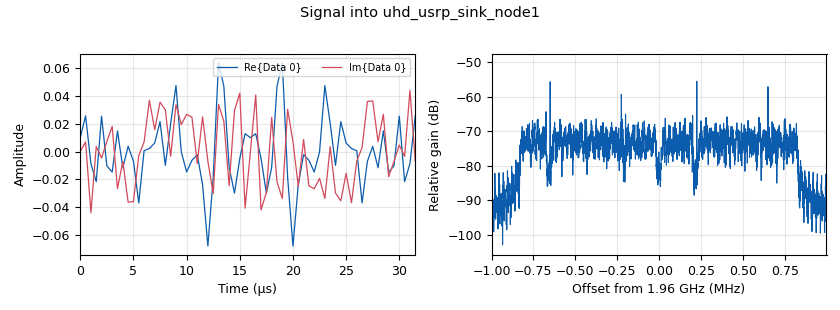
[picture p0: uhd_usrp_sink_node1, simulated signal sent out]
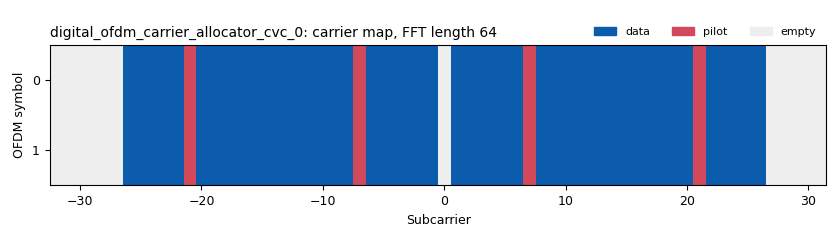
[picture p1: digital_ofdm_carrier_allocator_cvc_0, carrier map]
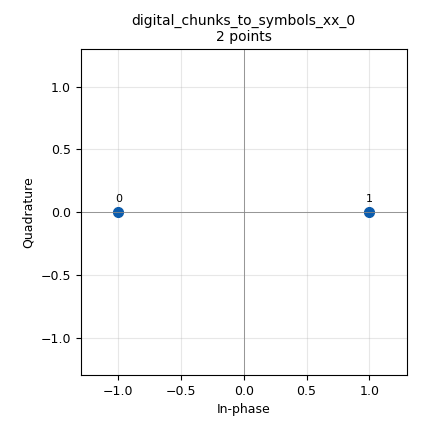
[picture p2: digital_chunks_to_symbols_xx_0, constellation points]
options:
  parameters:
    generate_options: qt_gui
    id: txrx_constellation
    output_language: python
    title: txrx_constellation
  states: {}

blocks:
- name: center_freq
  id: variable
  parameters:
    value: 2e9 - 2*2e7
  states: {}
- name: fft_len
  id: variable
  parameters:
    value: '64'
  states: {}
- name: header_equalizer
  id: variable
  parameters:
    value: digital.ofdm_equalizer_simpledfe(fft_len, header_mod.base(), occupied_carriers, pilot_carriers, pilot_symbols)
  states: {}
- name: header_formatter
  id: variable
  parameters:
    value: digital.packet_header_ofdm(occupied_carriers, n_syms=1, len_tag_key=length_tag_key, frame_len_tag_key=length_tag_key_rx, bits_per_header_sym=header_mod.bits_per_symbol(), bits_per_payload_sym=payload_mod.bits_per_symbol(), scramble_header=False)
  states: {}
- name: header_mod
  id: variable
  parameters:
    value: digital.constellation_bpsk()
  states: {}
- name: length_tag_key
  id: variable
  parameters:
    value: '"packet_len"'
  states: {}
- name: length_tag_key_rx
  id: variable
  parameters:
    value: '"frame_len"'
  states: {}
- name: occupied_carriers
  id: variable
  parameters:
    value: (list(range(-26, -21)) + list(range(-20, -7)) + list(range(-6, 0)) + list(range(1, 7)) + list(range(8, 21)) + list(range(22, 27)),)
  states: {}
- name: packet_len
  id: variable
  parameters:
    value: '64'
  states: {}
- name: payload_equalizer
  id: variable
  parameters:
    value: digital.ofdm_equalizer_simpledfe(fft_len, payload_mod.base(), occupied_carriers, pilot_carriers, pilot_symbols, 1)
  states: {}
- name: payload_mod
  id: variable
  parameters:
    value: digital.constellation_bpsk()
  states: {}
- name: pilot_carriers
  id: variable
  parameters:
    value: ((-21, -7, 7, 21,),)
  states: {}
- name: pilot_symbols
  id: variable
  parameters:
    value: ((1, 1, 1, -1,),)
  states: {}
- name: rolloff
  id: variable
  parameters:
    value: '0'
  states: {}
- name: rx_gain
  id: variable
  parameters:
    value: '0.8'
  states: {}
- name: samp_rate
  id: variable
  parameters:
    value: 2e6
  states: {}
- name: sdr0
  id: variable
  parameters:
    value: '"serial= 316405A"'
  states: {}
- name: sdr1
  id: variable
  parameters:
    value: '"serial= 316407B"'
  states: {}
- name: sync_word1
  id: variable
  parameters:
    value: '[0., 0., 0., 0., 0., 0., 0., 1.41421356, 0., -1.41421356, 0., 1.41421356, 0., -1.41421356, 0., -1.41421356, 0., -1.41421356, 0., 1.41421356, 0., -1.41421356, 0., 1.41421356, 0., -1.41421356, 0., -1.41421356, 0., -1.41421356, 0., -1.41421356, 0., 1.41421356, 0., -1.41421356, 0., 1.41421356, 0., 1.41421356, 0., 1.41421356, 0., -1.41421356, 0., 1.41421356, 0., 1.41421356, 0., 1.41421356, 0., -1.41421356, 0., 1.41421356, 0., 1.41421356, 0., 1.41421356, 0., 0., 0., 0., 0., 0.]'
  states: {}
- name: sync_word2
  id: variable
  parameters:
    value: '[0, 0, 0, 0, 0, 0, -1, -1, -1, -1, 1, 1, -1, -1, -1, 1, -1, 1, 1, 1, 1, 1, -1, -1, -1, -1, -1, 1, -1, -1, 1, -1, 0, 1, -1, 1, 1, 1, -1, 1, 1, 1, -1, 1, 1, 1, 1, -1, 1, -1, -1, -1, 1, -1, 1, -1, -1, -1, -1, 0, 0, 0, 0, 0] '
  states: {}
- name: tx_gain
  id: variable
  parameters:
    value: '70'
  states: {}
- name: analog_frequency_modulator_fc_0
  id: analog_frequency_modulator_fc
  parameters:
    sensitivity: '-2.0/fft_len'
  states: {}
- name: analog_random_source_x_0
  id: analog_random_source_x
  parameters:
    max: '255'
    min: '0'
    num_samps: '1000'
    repeat: 'True'
    type: byte
  states: {}
- name: blocks_delay_0
  id: blocks_delay
  parameters:
    delay: fft_len+fft_len//4
    type: complex
  states: {}
- name: blocks_multiply_const_vxx_0
  id: blocks_multiply_const_vxx
  parameters:
    const: '0.005'
    type: complex
  states: {}
- name: blocks_multiply_xx_0
  id: blocks_multiply_xx
  parameters:
    type: complex
  states: {}
- name: blocks_null_sink_0
  id: blocks_null_sink
  parameters:
    type: complex
  states: {}
- name: blocks_repack_bits_bb_0
  id: blocks_repack_bits_bb
  parameters:
    endianness: gr.GR_LSB_FIRST
    k: '8'
    l: payload_mod.bits_per_symbol()
    len_tag_key: length_tag_key
  states: {}
- name: blocks_stream_to_tagged_stream_0
  id: blocks_stream_to_tagged_stream
  parameters:
    len_tag_key: length_tag_key
    packet_len: packet_len
    type: byte
  states: {}
- name: blocks_tag_debug_0
  id: blocks_tag_debug
  parameters:
    type: complex
    vlen: '64'
  states: {state: disabled}
- name: blocks_tag_gate_0
  id: blocks_tag_gate
  parameters:
    propagate_tags: 'False'
    type: complex
  states: {}
- name: blocks_tagged_stream_mux_0
  id: blocks_tagged_stream_mux
  parameters:
    lengthtagname: length_tag_key
    ninputs: '2'
    type: complex
  states: {}
- name: digital_chunks_to_symbols_xx_0
  id: digital_chunks_to_symbols_xx
  parameters:
    dimension: '1'
    in_type: byte
    out_type: complex
    symbol_table: header_mod.points()
  states: {}
- name: digital_chunks_to_symbols_xx_0_0
  id: digital_chunks_to_symbols_xx
  parameters:
    dimension: '1'
    in_type: byte
    out_type: complex
    symbol_table: payload_mod.points()
  states: {}
- name: digital_constellation_decoder_cb_0
  id: digital_constellation_decoder_cb
  parameters:
    constellation: header_mod.base()
  states: {}
- name: digital_crc32_bb_0
  id: digital_crc32_bb
  parameters:
    check: 'False'
    lengthtagname: length_tag_key
    packed: 'True'
  states: {}
- name: digital_header_payload_demux_0
  id: digital_header_payload_demux
  parameters:
    guard_interval: fft_len//4
    header_len: '3'
    header_padding: '0'
    items_per_symbol: fft_len
    length_tag_key: length_tag_key_rx
    output_symbols: 'True'
    samp_rate: int(samp_rate)
    special_tags: ()
    timing_tag_key: '"rx_time"'
    type: complex
  states: {}
- name: digital_ofdm_carrier_allocator_cvc_0
  id: digital_ofdm_carrier_allocator_cvc
  parameters:
    fft_len: fft_len
    len_tag_key: length_tag_key
    occupied_carriers: occupied_carriers
    output_is_shifted: 'True'
    pilot_carriers: pilot_carriers
    pilot_symbols: pilot_symbols
    sync_words: (sync_word1, sync_word2)
  states: {}
- name: digital_ofdm_chanest_vcvc_0
  id: digital_ofdm_chanest_vcvc
  parameters:
    force_one_symbol: 'False'
    max_carr_offset: '3'
    n_data_symbols: '1'
    sync_symbol1: sync_word1
    sync_symbol2: sync_word2
  states: {}
- name: digital_ofdm_cyclic_prefixer_0
  id: digital_ofdm_cyclic_prefixer
  parameters:
    cp_len: fft_len//4
    input_size: fft_len
    rolloff: rolloff
    tagname: length_tag_key
  states: {}
- name: digital_ofdm_frame_equalizer_vcvc_0
  id: digital_ofdm_frame_equalizer_vcvc
  parameters:
    cp_len: fft_len//4
    equalizer: header_equalizer.base()
    fft_len: fft_len
    fixed_frame_len: '1'
    len_tag_key: length_tag_key_rx
    propagate_channel_state: 'True'
  states: {}
- name: digital_ofdm_frame_equalizer_vcvc_1
  id: digital_ofdm_frame_equalizer_vcvc
  parameters:
    cp_len: fft_len//4
    equalizer: payload_equalizer.base()
    fft_len: fft_len
    len_tag_key: length_tag_key_rx
    propagate_channel_state: 'True'
  states: {}
- name: digital_ofdm_serializer_vcc_header
  id: digital_ofdm_serializer_vcc
  parameters:
    carr_offset_key: ''
    fft_len: fft_len
    len_tag_key: length_tag_key_rx
    occupied_carriers: occupied_carriers
    packet_len_tag_key: ''
  states: {}
- name: digital_ofdm_serializer_vcc_payload
  id: digital_ofdm_serializer_vcc
  parameters:
    carr_offset_key: ''
    fft_len: fft_len
    len_tag_key: length_tag_key_rx
    occupied_carriers: occupied_carriers
    packet_len_tag_key: length_tag_key
    symbols_skipped: '1'
  states: {}
- name: digital_ofdm_sync_sc_cfb_0
  id: digital_ofdm_sync_sc_cfb
  parameters:
    cp_len: fft_len//4
    fft_len: fft_len
    threshold: '0.9'
  states: {}
- name: digital_packet_headergenerator_bb_0
  id: digital_packet_headergenerator_bb
  parameters:
    header_formatter: header_formatter.base()
    len_tag_key: length_tag_key
  states: {}
- name: digital_packet_headerparser_b_0
  id: digital_packet_headerparser_b
  parameters:
    header_formatter: header_formatter.base()
  states: {}
- name: fec_ber_bf_0
  id: fec_ber_bf
  parameters:
    test_mode: 'False'
  states: {state: disabled}
- name: fft_vxx_0
  id: fft_vxx
  parameters:
    fft_size: fft_len
    forward: 'False'
    shift: 'True'
    type: complex
    window: ()
  states: {}
- name: fft_vxx_0_0
  id: fft_vxx
  parameters:
    fft_size: fft_len
    forward: 'True'
    shift: 'True'
    type: complex
    window: ()
  states: {}
- name: fft_vxx_1
  id: fft_vxx
  parameters:
    fft_size: fft_len
    forward: 'True'
    shift: 'True'
    type: complex
    window: ()
  states: {}
- name: header_bits
  id: virtual_sink
  parameters:
    stream_id: Header Bits
  states: {}
- name: qtgui_number_sink_0
  id: qtgui_number_sink
  parameters:
    graph_type: qtgui.NUM_GRAPH_HORIZ
    type: float
  states: {state: disabled}
- name: qtgui_sink_x_0
  id: qtgui_sink_x
  parameters:
    bw: samp_rate
    fc: '0'
    fftsize: '1024'
    type: complex
  states: {}
- name: uhd_usrp_sink_node1
  id: uhd_usrp_sink
  parameters:
    ant0: TX/RX
    bw0: 20e6
    center_freq0: center_freq
    dev_addr: sdr0
    dev_args: '""'
    gain0: '1'
    gain_type0: normalized
    len_tag_name: ''
    samp_rate: samp_rate
    sync: pc_clock
    type: fc32
  states: {}
- name: uhd_usrp_source_node2
  id: uhd_usrp_source
  parameters:
    ant0: '"RX2"'
    bw0: 20e6
    center_freq0: center_freq
    dev_addr: sdr1
    dev_args: '""'
    gain0: '0.8'
    gain_type0: normalized
    samp_rate: samp_rate
    sync: pc_clock
    type: fc32
  states: {}
- name: virtual_sink_0
  id: virtual_sink
  parameters:
    stream_id: Time Domain
  states: {}
- name: virtual_sink_0_0
  id: virtual_sink
  parameters:
    stream_id: Payload Bits
  states: {}
- name: virtual_sink_0_0_0
  id: virtual_sink
  parameters:
    stream_id: Pre-OFDM
  states: {}
- name: virtual_sink_0_1
  id: virtual_sink
  parameters:
    stream_id: Header Stream
  states: {}
- name: virtual_sink_1_0
  id: virtual_sink
  parameters:
    stream_id: Payload IQ
  states: {}
- name: virtual_sink_1_1
  id: virtual_sink
  parameters:
    stream_id: Payload Stream
  states: {}
- name: virtual_source_0
  id: virtual_source
  parameters:
    stream_id: Header Bits
  states: {}
- name: virtual_source_0_0
  id: virtual_source
  parameters:
    stream_id: Payload Bits
  states: {}
- name: virtual_source_0_0_0
  id: virtual_source
  parameters:
    stream_id: Pre-OFDM
  states: {}
- name: virtual_source_0_0_0_0
  id: virtual_source
  parameters:
    stream_id: Time Domain
  states: {}
- name: virtual_source_0_0_1
  id: virtual_source
  parameters:
    stream_id: Payload IQ
  states: {}
- name: virtual_source_0_1
  id: virtual_source
  parameters:
    stream_id: Header Stream
  states: {}
- name: virtual_source_1
  id: virtual_source
  parameters:
    stream_id: Payload Stream
  states: {}
- name: virtual_source_2
  id: virtual_source
  parameters:
    stream_id: file
  states: {state: disabled}
- name: zeromq_pub_sink_0
  id: zeromq_pub_sink
  parameters:
    address: tcp://127.0.0.1:2000
    pass_tags: 'True'
    timeout: '100'
    type: complex
    vlen: '64'
  states: {}

connections:
- [analog_frequency_modulator_fc_0, '0', blocks_multiply_xx_0, '1']
- [analog_random_source_x_0, '0', blocks_stream_to_tagged_stream_0, '0']
- [blocks_delay_0, '0', blocks_multiply_xx_0, '0']
- [blocks_multiply_const_vxx_0, '0', blocks_tag_gate_0, '0']
- [blocks_multiply_xx_0, '0', digital_header_payload_demux_0, '0']
- [blocks_repack_bits_bb_0, '0', virtual_sink_0_0, '0']
- [blocks_stream_to_tagged_stream_0, '0', digital_crc32_bb_0, '0']
- [blocks_tag_gate_0, '0', uhd_usrp_sink_node1, '0']
- [blocks_tagged_stream_mux_0, '0', virtual_sink_0_0_0, '0']
- [digital_chunks_to_symbols_xx_0, '0', blocks_tagged_stream_mux_0, '0']
- [digital_chunks_to_symbols_xx_0_0, '0', blocks_tagged_stream_mux_0, '1']
- [digital_constellation_decoder_cb_0, '0', digital_packet_headerparser_b_0, '0']
- [digital_crc32_bb_0, '0', blocks_repack_bits_bb_0, '0']
- [digital_crc32_bb_0, '0', digital_packet_headergenerator_bb_0, '0']
- [digital_header_payload_demux_0, '0', virtual_sink_0_1, '0']
- [digital_header_payload_demux_0, '1', virtual_sink_1_1, '0']
- [digital_ofdm_carrier_allocator_cvc_0, '0', fft_vxx_0, '0']
- [digital_ofdm_chanest_vcvc_0, '0', blocks_tag_debug_0, '0']
- [digital_ofdm_chanest_vcvc_0, '0', digital_ofdm_frame_equalizer_vcvc_0, '0']
- [digital_ofdm_chanest_vcvc_0, '0', zeromq_pub_sink_0, '0']
- [digital_ofdm_cyclic_prefixer_0, '0', virtual_sink_0, '0']
- [digital_ofdm_frame_equalizer_vcvc_0, '0', digital_ofdm_serializer_vcc_header, '0']
- [digital_ofdm_frame_equalizer_vcvc_1, '0', digital_ofdm_serializer_vcc_payload, '0']
- [digital_ofdm_serializer_vcc_header, '0', digital_constellation_decoder_cb_0, '0']
- [digital_ofdm_serializer_vcc_payload, '0', virtual_sink_1_0, '0']
- [digital_ofdm_sync_sc_cfb_0, '0', analog_frequency_modulator_fc_0, '0']
- [digital_ofdm_sync_sc_cfb_0, '1', digital_header_payload_demux_0, '1']
- [digital_packet_headergenerator_bb_0, '0', header_bits, '0']
- [digital_packet_headerparser_b_0, header_data, digital_header_payload_demux_0, header_data]
- [fec_ber_bf_0, '0', qtgui_number_sink_0, '0']
- [fft_vxx_0, '0', digital_ofdm_cyclic_prefixer_0, '0']
- [fft_vxx_0_0, '0', digital_ofdm_chanest_vcvc_0, '0']
- [fft_vxx_1, '0', digital_ofdm_frame_equalizer_vcvc_1, '0']
- [uhd_usrp_source_node2, '0', blocks_delay_0, '0']
- [uhd_usrp_source_node2, '0', digital_ofdm_sync_sc_cfb_0, '0']
- [virtual_source_0, '0', digital_chunks_to_symbols_xx_0, '0']
- [virtual_source_0_0, '0', digital_chunks_to_symbols_xx_0_0, '0']
- [virtual_source_0_0_0, '0', digital_ofdm_carrier_allocator_cvc_0, '0']
- [virtual_source_0_0_0_0, '0', blocks_multiply_const_vxx_0, '0']
- [virtual_source_0_0_1, '0', blocks_null_sink_0, '0']
- [virtual_source_0_0_1, '0', qtgui_sink_x_0, '0']
- [virtual_source_0_1, '0', fft_vxx_0_0, '0']
- [virtual_source_1, '0', fft_vxx_1, '0']
- [virtual_source_2, '0', fec_ber_bf_0, '1']

metadata:
  file_format: 1
  grc_version: 3.10.9.2
